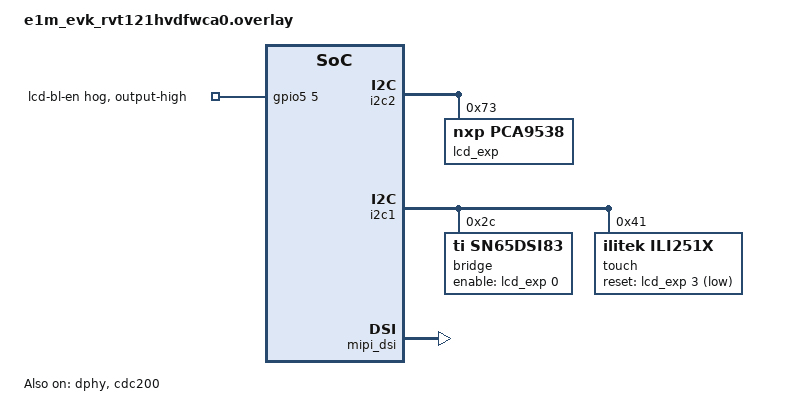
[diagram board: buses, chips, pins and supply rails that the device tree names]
/*
 * Copyright (c) 2026 Alp Lab AB
 * SPDX-License-Identifier: Apache-2.0
 *
 * e1m_evk_rvt121hvdfwca0 -- the Riverdi RVT121HVDFWCA0-B 12.1" 1280x800 LVDS
 * panel on the E1M-EVK's display connector (J6), via a maintainer-built
 * adapter PCB carrying a TI SN65DSI83 MIPI-DSI-to-FlatLink(LVDS) bridge
 * (I2C 0x2c, assumed -- ADDR-strap-selectable, see bridge@2c's comment
 * below).  Driven by an E1M-AEN SoM (Alif Ensemble E8) through:
 *
 *   cdc200   (tes,cdc-2.1)          -- DPI pixel pump, framebuffer in SRAM0
 *       |  DPI
 *   mipi_dsi (snps,designware-dsi)  -- MIPI-DSI host
 *       |  phy-if <&dphy 1>
 *   dphy     (snps,designware-dphy) -- the shared D-PHY, TX role
 *       |  2 data lanes, RGB888, non-burst
 *   bridge@2c (ti,sn65dsi83)        -- on the adapter PCB, I2C1 (J6's DSI-
 *                                      connector I2C, not the SoC nodes'
 *                                      own DSI wire)
 *       |  FlatLink single-link LVDS, VESA-24 (Format 2), 4 data pairs
 *   Riverdi RVT121HVDFWCA0-B panel  -- off-shield, on the adapter's LVDS
 *                                      connector
 *
 * The SoC nodes (reg, IRQs, clocks, cdc-if / phy-if) are defined disabled in
 * zephyr/dts/alif/ensemble_e8_peripherals.dtsi.  This shield turns them on
 * and adds what the carrier, the adapter and the panel decide.  Build any
 * app with `-DSHIELD=e1m_evk_rvt121hvdfwca0`; the shield's Kconfig.defconfig
 * enables the drivers.  The app must set CONFIG_ALP_SDK=y, as every alp-sdk
 * AEN app does.
 *
 * UNLIKE e1m_evk_rk055hdmipi4ma0: there is no panel@N child of &mipi_dsi
 * here.  The SN65DSI83 is not a DSI peripheral -- it is controlled entirely
 * over I2C1 (datasheet CSR bank), not DCS -- so nothing about it belongs on
 * the mipi-dsi bus.  There is also no fixed-regulator panel-power node: the
 * bridge's own EN-pin sequencing (display_sn65dsi83.c) IS the power
 * sequencing here, and it has a hard ordering requirement a boot-on
 * regulator cannot express (EN must not go high until the DSI clock lane is
 * already running HS -- see the driver's header comment).
 *
 * ADAPTER PCB ROLES: everything below marked UNVERIFIED assumes the adapter
 * reuses the e1m_evk_rk055hdmipi4ma0 shield's GPIO-expander role map (the
 * maintainer's stated assumption for this bring-up), because no adapter
 * schematic was available for this change.  Confirm against the real
 * adapter before trusting a dark panel vs. a wiring mismatch.
 *
 * ------------------------- Lane-rate / clock math -------------------------
 * 2 DSI data lanes, RGB888 (24 bpp), non-burst-sync-events, the Ensemble
 * E8's two-lane application-note ceiling of 500 Mbps/lane (same limit the
 * e1m_evk_rk055hdmipi4ma0 shield cites, panel-max-lane-bandwidth below).
 *
 * WHY RGB888 + non-burst, not RGB666-packed + burst: the panel is VESA-24
 * -- Format 2 on the FlatLink LVDS output (Figure 7-5: the 2 MSB per colour
 * ride the Y3 lane).  An 18 bpp DSI link
 * (Figure 7-4) only ever gives the bridge 6 bits per colour to forward, so
 * every colour on this panel would show at roughly 1/4 intensity -- 18 bpp
 * is only correct into an 18-bit-native panel, not a VESA-24 one driven at
 * reduced depth.  RGB888 is therefore not optional here.  Burst mode is
 * also not an option AT this pixel clock and bpp: the burst formula (see
 * display_sn65dsi83.c's SN65_BURST_HS_CLK_HZ) is pclk * bpp / lanes * 4/3 =
 * 36.363636e6 * 24 / 2 * 4/3 = 581,818,182 bps, over the 500 Mbps two-lane
 * ceiling -- non-burst is the only mode that fits RGB888 at this rate.
 *
 * cdc-if (CDC200) pixel clock: 400 MHz / 11 = 36.363636 MHz (the SoC's
 * mipi_display_e8.c divides SYST_ACLK by an integer divider; 11 is the
 * divider that lands closest to the panel's headline pixel clock while
 * keeping the DSI clock-lane math below on a clean integer boundary) --
 * a property of the pixel clock alone, independent of the DSI link's bpp.
 *
 * Non-burst DSI bit rate (dsi_dw.c's dw_calc_clocks() non-burst formula, see
 * display_sn65dsi83.c's SN65_NONBURST_HS_CLK_HZ for the same arithmetic in
 * the driver): with vid-pkt-size = hactive = 1280 (below), no sync pulse
 * (dpi-video-mode = "non-burst-sync-events"),
 *   (1280*24/8 + 12) * pclk * 8 / (1280*2) + 32 * pclk / (2*1280)
 *   = 3852 * 36.363636e6 * 8 / 2560 + 16 * 36.363636e6 / 1280
 *   = 437,727,273 + 454,545 = 438,181,818 bps (~438.18 Mbps).
 * panel-max-lane-bandwidth below (440,000,000) sits just ABOVE this, as a
 * guard the DSI host clamps to if it is ever exceeded -- NOT the source of
 * the rate: dsi_dw.c applies that clamp after computing hs_bit_clk
 * regardless of burst/non-burst, so setting it BELOW 438.18 Mbps would
 * silently slow the link and starve the DPI FIFO every line (see the
 * driver's BUILD_ASSERT on this).  Still comfortably under the 500 Mbps
 * app-note cap.
 *
 * The DSI clock LANE (what the bridge's HS_CLK_SRC=1 measures) runs at half
 * the bit rate, DDR: 219,090,909 Hz (~219.09 MHz).  The Alif D-PHY PLL only
 * resolves in 38.4 MHz / (3 * 2 * 16) = 0.4 MHz steps (PLL_M counts those steps),
 * so the achieved rate rounds UP to the next step: PLL_M = ceil(219.09 /
 * 0.4) = 548, giving 219.2 MHz actual (438.4 Mbps actual HS bit rate) --
 * both well inside the BUILD_ASSERTs' ~0.4 MHz / CSR-bin tolerance of the
 * driver's own (pre-rounding) 219.09 MHz target, so no driver change is
 * needed to account for the rounding.  SN65_DSI_CLK_DIV_FIELD divides that
 * DSI clock lane by 6 to reach the panel's LVDS clock: 219.2 / 6 = 36.53 MHz
 * actual (+0.47% vs the CDC's 36.363636 MHz -- the SN65 re-times each line
 * from its own HSYNC anyway, and CHA_SYNC_DELAY below covers the margin).
 * Resulting CSR values: 0x0A = 0x01 (LVDS_CLK_RANGE=0, HS_CLK_SRC=1),
 * 0x0B = 0x28 (DSI_CLK_DIVIDER field 5 = divide-by-6, REFCLK_MULTIPLIER=0),
 * 0x12 = 0x2B (CHA_DSI_CLK_RANGE, 219.09 MHz / 5 MHz truncated), 0x18 = 0x78
 * (RGB888, VESA-24 Format 2 -- see display_sn65dsi83.c's CSR 0x18 comment).
 *
 * 36.363636 MHz is ~45% under the panel's own datasheet-headline minimum
 * pixel clock (66.3 MHz, the panel's native 60 Hz timing) -- the maintainer
 * chose ~30 Hz deliberately for this bring-up rather than chase the full
 * lane-bandwidth ceiling on a first bring-up.  Refresh reached: 36,363,636 /
 * (1440 * 840) = 30.06 Hz (htotal 1440 = 1280 + 24 + 64 + 72; vtotal 840 =
 * 800 + 8 + 24 + 8).
 *
 * FALLBACK, if 36.363636 MHz does not bring up a stable image: 40 MHz
 * (400 MHz / 10) -- 33.1 Hz, non-burst DSI bit rate 482.0 Mbps (still inside
 * the 500 Mbps ceiling, and above it the driver's BUILD_ASSERT would catch
 * a too-low panel-max-lane-bandwidth), CSR 0x0A LVDS_CLK_RANGE=0b001
 * (37.5<=f<62.5 MHz bin, DSI clock lane / 6 = 40.17 MHz vs 36.53 MHz above),
 * CSR 0x12 CHA_DSI_CLK_RANGE=0x30 (241 MHz DSI clock lane / 5 MHz).  The
 * driver's DT-derived BUILD_ASSERTs recompute both automatically from an
 * updated clock-frequency / panel-max-lane-bandwidth pair -- no driver-code
 * change needed to try this, only the two properties below.
 *
 * HARDWARE CAVEAT (not a firmware knob): the Riverdi panel's backlight draws
 * ~195 mA at ~22 V (~1 A drawn from the E1M-EVK's own +5V rail feeding the
 * adapter, via J6 pins 39/40) -- check the adapter PCB's and the DSI FFC's
 * current rating before powering the backlight for any length of time.
 * ---------------------------------------------------------------------------
 *
 * DPI colour coding: baked into dsi_dw_dpi_color_code() (zephyr/drivers/
 * mipi_dsi/dsi_dw.c), not a devicetree choice -- RGB888 always selects the
 * single DPI_COLOR_CODE_24B code on this host (unlike 16/18 bpp, 24 bpp has
 * no Config 1/Config 2 packing choice to make).  Never bench-tested against
 * this specific bridge.
 */

#include <mem.h>
#include <zephyr/dt-bindings/gpio/gpio.h>
#include <zephyr/dt-bindings/mipi_dsi/mipi_dsi.h>
#include <zephyr/dt-bindings/pinctrl/alif-ensemble-pinctrl.h>

/ {
	chosen {
		zephyr,display = &cdc200;
	};

	aliases {
		/* <alp/display.h> resolves display 0 through this alias. */
		alp-display0 = &cdc200;
	};
};

/*
 * The framebuffer: the top 2 MiB of the 4 MiB SRAM0 (0x02000000), the same
 * carve-out shape as e1m_evk_rk055hdmipi4ma0.  A 1280x800 RGB565 layer is
 * 1280*800*2 = 2,048,000 B, which fits inside 2 MiB (2,097,152 B) with
 * 49,152 B to spare -- DT_SIZE_M(2) is the smallest MiB-aligned size that
 * holds it.  See that shield's overlay comment for why this is plain
 * "mmio-sram" (used by address, no linker section) and why sram0 is grown
 * back to the bottom 2 MiB now that the smaller RGB565 framebuffer leaves
 * room.
 */
&sram0 {
	reg = <0x02000000 DT_SIZE_M(2)>;
};

&soc {
	lcd_fb: sram@2200000 {
		compatible = "mmio-sram";
		reg = <0x02200000 DT_SIZE_M(2)>;
	};
};

/*
 * The panel-control I2C GPIO expander on the E1M bus 0 (SoC I2C2).  reg
 * 0x73 is EVK_I2C_ADDR_TCAL9538_MAIN in metadata/boards/e1m-evk.yaml.
 *
 * UNVERIFIED -- role assumption: P0 is assumed to carry the same net
 * e1m_evk_rk055hdmipi4ma0 uses for panel power (J6 pin 32), repurposed here
 * as the SN65DSI83's EN pin (bridge@2c below) instead of a fixed-regulator
 * enable.  P3 is assumed to carry CTP_RST (EVK_IOEXP_CTP_RST = 3 in that
 * same metadata file, for the touch controller on the panel's own FFC) --
 * that one constant IS established EVK metadata, not adapter-specific, but
 * whether the adapter routes it through at all is still unverified.
 *
 * nxp,pca9538 (not nxp,pcal9538): see e1m_evk_rk055hdmipi4ma0's overlay
 * comment -- same part, same reasoning (#1974).
 */
&i2c2 {
	lcd_exp: gpio@73 {
		compatible = "nxp,pca9538";
		reg = <0x73>;
		gpio-controller;
		#gpio-cells = <2>;
		ngpios = <8>;
		status = "okay";

	};
};

/*
 * Backlight enable, P5_5 -- the same SoM backlight-driver enable pin
 * e1m_evk_rk055hdmipi4ma0 uses (metadata/e1m_modules/aen/on-module-links.yaml,
 * backlight.enable).  Static high there means full brightness because no
 * panel driver ever pulses it for dimming; here there is no panel driver at
 * all (the bridge is init-only), so a gpio-hog drives it directly instead of
 * a panel's bl-gpios. `bl-gpios` is ALSO set on &mipi_dsi purely so
 * zephyr/soc-bridge/alif/mipi_display_e8.c's pad-mux helper still muxes the
 * pad to its GPIO function (alt 0) with the input receiver on -- gpio_dw
 * applies no pad mux of its own, and without it a plain gpio-hog would
 * configure the port register while the physical pad stayed on whatever
 * alternate function reset left it at.
 *
 * NOTE (real hardware, not a firmware limitation): the Riverdi panel's own
 * PWM pin (its connector pin 18) is a TPS61500 backlight-driver dimming
 * input, 200 Hz-1 kHz -- unrelated to this SoM-side enable.  Static high on
 * THIS pin is 100% brightness at whatever the TPS61500 is programmed for;
 * it is not a substitute for real PWM dimming.
 */
&gpio5 {
	status = "okay";

	bl_en_hog: bl-en-hog {
		gpio-hog;
		gpios = <5 GPIO_ACTIVE_HIGH>;
		output-high;
		line-name = "lcd-bl-en";
	};
};

/*
 * The panel-side I2C: the SN65DSI83 bridge (on the adapter PCB) and, per the
 * maintainer, the panel's own ILI2511 capacitive-touch controller (I2C 0x41)
 * share this bus.  touch@41 below is POLLED: J6's CTP_INT lands on a
 * CC3501E-owned pad (E1M AH8), so the Alif core has no touch interrupt.  See
 * e1m_evk_rk055hdmipi4ma0's overlay for the full pinout/route derivation
 * (J6 pin 26/27 -> level translator -> E1M pads AH17/AG17 -> Alif P7_2/
 * P3_7); it is a carrier fact independent of which panel is fitted, so it
 * is repeated verbatim here rather than shared, the same way the two
 * shields do not share a common include.
 */
&pinctrl {
	pinctrl_i2c1_dsi: pinctrl_i2c1_dsi {
		group0 {
			pinmux = <PIN_P3_7__I2C1_SCL_B>, <PIN_P7_2__I2C1_SDA_C>;
			input-enable;
			bias-pull-down;
		};
	};
};

&i2c1 {
	status = "okay";
	pinctrl-0 = <&pinctrl_i2c1_dsi>;
	pinctrl-names = "default";

	/*
	 * UNVERIFIED -- adapter PCB mapping assumed: 0x2c.  The SN65DSI83's I2C
	 * address is ADDR-pin STRAP-SELECTABLE, not fixed (datasheet Table 7-3):
	 * ADDR low -> 0x2c, ADDR high -> 0x2d.  No adapter schematic was
	 * available to confirm which way the adapter straps ADDR, or that it
	 * routes J6's DSI-connector I2C straight through to the bridge with no
	 * address translation/mux in between.  BENCH TIP: if the ID read in
	 * sn65dsi83_check_id() fails, probe BOTH 0x2c and 0x2d before assuming
	 * an EN-pin or clock-lane sequencing fault -- a wrong-address guess
	 * looks identical to "the bridge never answered" from this driver.
	 */
	bridge: bridge@2c {
		compatible = "ti,sn65dsi83";
		reg = <0x2c>;
		mipi-dsi = <&mipi_dsi>;
		data-lanes = <2>;
		pixel-format = <MIPI_DSI_PIXFMT_RGB888>;
		/* UNVERIFIED: P0 on lcd_exp -- see that node's comment above. */
		enable-gpios = <&lcd_exp 0 GPIO_ACTIVE_HIGH>;
		status = "okay";
	};

	/*
	 * ILI2511 touch (Riverdi J1 pin 22 RESET, active low).  UNVERIFIED --
	 * adapter mapping assumed: CTP_RST on lcd_exp P3 (EVK_IOEXP_CTP_RST).
	 * No int-gpios: the driver polls (CONFIG_INPUT_ILI251X_PERIOD_MS).
	 */
	touch: touch@41 {
		compatible = "ilitek,ili251x";
		reg = <0x41>;
		reset-gpios = <&lcd_exp 3 GPIO_ACTIVE_LOW>;
		screen-width = <1280>;
		screen-height = <800>;
		status = "okay";
	};
};

&dphy {
	status = "okay";
};

&cdc200 {
	/* Panel timing -- see the lane-rate/clock math header comment above. */
	width = <1280>;
	height = <800>;
	hsync-len = <24>;
	hfront-porch = <72>;
	hback-porch = <64>;
	vsync-len = <8>;
	vfront-porch = <8>;
	vback-porch = <24>;
	hsync-active = <0>;
	vsync-active = <0>;
	de-active = <1>;
	pixelclk-active = <0>;
	/* 400 MHz / 11 -- see the header comment. */
	clock-frequency = <36363636>;
	bg-color = <0x000000>;
	memory-region = <&lcd_fb>;

	/* L1 only: a single full-screen RGB565 layer, same shape as
	 * e1m_evk_rk055hdmipi4ma0's -- the DSI LINK format (RGB888,
	 * bridge@2c's pixel-format above) is independent of the framebuffer's
	 * pixel-fmt-l1; only the framebuffer's bytes-per-pixel changes. */
	enable-l1 = <1>;
	pixel-fmt-l1 = "rgb-565";
	win-x0-l1 = <0>;
	win-y0-l1 = <0>;
	win-x1-l1 = <1280>;
	win-y1-l1 = <800>;
	blend-factor1-l1 = <4>;
	blend-factor2-l1 = <5>;
	const-alpha-l1 = <0xff>;

	status = "okay";
};

&mipi_dsi {
	vid-pkt-size = <1280>;

	/*
	 * Non-burst-sync-events, the SAME mode e1m_evk_rk055hdmipi4ma0 is proven
	 * with (#2199) -- see the "Lane-rate / clock math" header comment for
	 * why burst does not fit RGB888 at this pixel clock at all (581.8 Mbps,
	 * over the two-lane 500 Mbps ceiling).  This bridge still gets a
	 * continuous HS clock lane to lock its own LVDS PLL to (HS_CLK_SRC=1 in
	 * the driver) either way -- non-burst does not stop the clock lane
	 * between packets, only non-continuous-clock mode would (not used
	 * here).  display_sn65dsi83.c reads this property (via SN65_MIPI_NODE)
	 * to compute the CSR bank honestly for whichever mode is set here; it
	 * does not hardcode burst.
	 */
	dpi-video-mode = "non-burst-sync-events";

	/*
	 * The DSI host's own clamp, applied AFTER computing the real rate
	 * regardless of mode -- see the "Lane-rate / clock math" header comment
	 * for why this must be >= the non-burst formula's ~438.18 Mbps (a
	 * guard, not the rate source) and why display_sn65dsi83.c's own
	 * BUILD_ASSERT catches a value set too low here.  440 Mbps: comfortable
	 * margin over 438.18 Mbps, still under the 500 Mbps app-note cap.
	 */
	panel-max-lane-bandwidth = <440000000>;

	/* bl-gpios: see the &gpio5 comment above. */
	bl-gpios = <&gpio5 5 GPIO_ACTIVE_HIGH>;

	status = "okay";

	/* No panel@0 child -- see the file header comment: the SN65DSI83 is not
	 * a DSI peripheral. */
};
